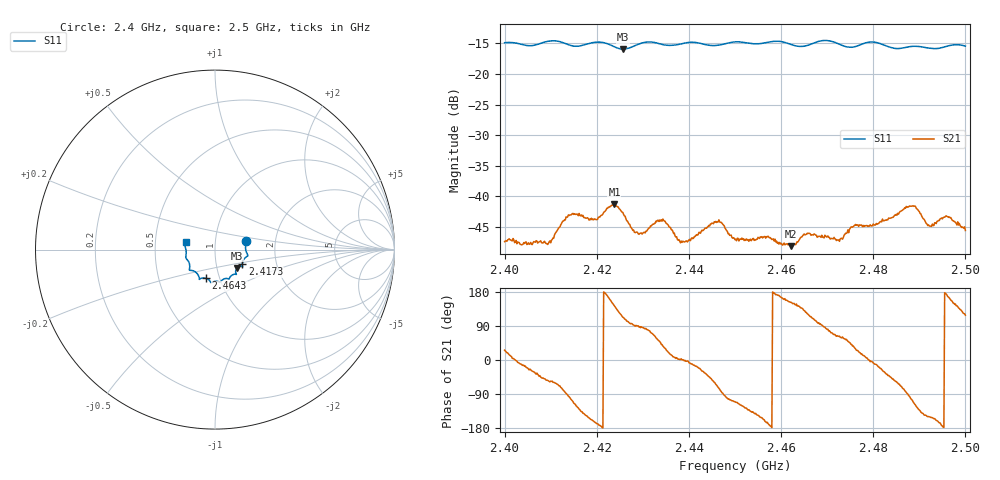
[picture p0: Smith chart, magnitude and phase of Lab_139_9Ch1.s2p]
# Hz S RI R 50
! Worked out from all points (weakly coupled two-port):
!   601 points, 2.4 GHz to 2.5 GHz, reference 50 ohm
!   highest |S21| = -41.32 dB at 2.4238 GHz (marker M1); lowest = -48.1 dB at 2.4622 GHz (marker M2)
!   lowest |S11| = -15.9 dB at 2.4257 GHz (marker M3), VSWR 1.38, Z = 62.5 - j13.1 ohm
!   |S11| at or under -10 dB: start of sweep to end of sweep
!   S12 and S22 are empty: the file has one direction only
!   S11 on the Smith chart (normalised r, x): 2.4 GHz: 1.41, +0.14; 2.4173 GHz: 1.34, -0.23; 2.4643 GHz: 0.86, -0.28; 2.5 GHz: 0.72, +0.06
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2.4e9  0.1733 0.0491  0.00384 0.00187  0 0  0 0
2.4095e9  0.1826 -0.031  0.00236 -0.00338  0 0  0 0
2.413833e9  0.1675 -0.0456  -0.000629 -0.00703  0 0  0 0
2.416667e9  0.1531 -0.0749  -0.00511 -0.00487  0 0  0 0
2.417333e9  0.1521 -0.0823  -0.00536 -0.00405  0 0  0 0
2.423833e9  0.138 -0.0943  -0.00681 0.00523  0 0  0 0
2.425667e9  0.1226 -0.102  -0.00287 0.00681  0 0  0 0
2.428833e9  0.1155 -0.13  2.71e-06 0.00508  0 0  0 0
2.433333e9  0.1131 -0.1371  0.00388 0.00507  0 0  0 0
2.4385e9  0.0813 -0.157  0.0042 2.51e-05  0 0  0 0
2.446e9  0.0476 -0.1643  0.00247 -0.0056  0 0  0 0
2.45e9  0.0294 -0.1807  -0.00151 -0.00416  0 0  0 0
2.462167e9  -0.0309 -0.1714  -0.00347 0.00182  0 0  0 0
2.464333e9  -0.05 -0.1602  -0.00343 0.00314  0 0  0 0
2.466667e9  -0.0756 -0.1594  -0.00179 0.00452  0 0  0 0
2.4725e9  -0.089 -0.152  0.00205 0.00391  0 0  0 0
2.475667e9  -0.113 -0.1218  0.0045 0.00342  0 0  0 0
2.483333e9  -0.1407 -0.0897  0.00504 -0.00434  0 0  0 0
2.488667e9  -0.1615 -0.0476  -0.00296 -0.00783  0 0  0 0
2.492167e9  -0.1608 -0.0238  -0.00496 -0.00287  0 0  0 0
2.496e9  -0.1674 0.019  -0.00677 0.00106  0 0  0 0
2.5e9  -0.1636 0.0421  -0.00248 0.00464  0 0  0 0
